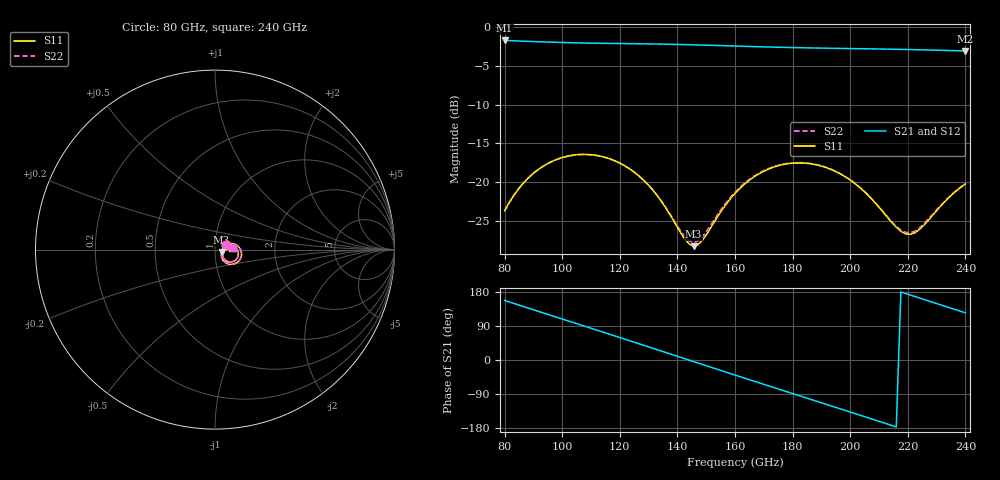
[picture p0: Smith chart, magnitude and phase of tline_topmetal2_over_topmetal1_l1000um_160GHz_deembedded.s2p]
! Created with skrf 2.2.0 (http://scikit-rf.org).
# GHz S DB R 50.0
! Port[1] = P1
! Port[2] = P2
!freq dBS11 angS11 dBS21 angS21 dBS12 angS12 dBS22 angS22
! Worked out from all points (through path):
!   101 points, 80 GHz to 240 GHz, reference 50 ohm
!   highest |S21| = -1.72 dB at 80 GHz (marker M1); lowest = -3.1 dB at 240 GHz (marker M2)
!   group delay of S21, straight-line fit = 6.82 ps
!   lowest |S11| = -28.3 dB at 145.6 GHz (marker M3), VSWR 1.08, Z = 53.8 - j1.35 ohm
!   |S11| at or under -10 dB: start of sweep to end of sweep
!   |S22| runs from -27.8 to -16.4 dB; largest |S21 - S12| = 9.2e-14
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80  -23.70 22.9  -1.72 157.3  -1.72 157.3  -23.73 23.3
86.4  -20.16 19.7  -1.81 141.5  -1.81 141.5  -20.19 20.2
94.4  -17.72 8.2  -1.91 121.8  -1.91 121.8  -17.74 8.7
100.8  -16.74 -2.9  -1.98 106.2  -1.98 106.2  -16.77 -2.3
107.2  -16.42 -14.5  -2.04 90.6  -2.04 90.6  -16.44 -13.8
120  -17.54 -37.0  -2.11 59.3  -2.11 59.3  -17.57 -36.1
128  -19.66 -48.6  -2.15 39.5  -2.15 39.5  -19.67 -47.3
134.4  -22.45 -53.0  -2.19 23.7  -2.19 23.7  -22.42 -51.2
142.4  -27.28 -37.6  -2.25 3.8  -2.25 3.8  -26.97 -35.2
145.6  -28.27 -18.9  -2.28 -4.1  -2.28 -4.1  -27.80 -17.4
148.8  -27.46 0.1  -2.31 -12.0  -2.31 -12.0  -27.01 0.1
160  -21.46 15.5  -2.43 -39.7  -2.43 -39.7  -21.31 14.8
168  -19.00 6.7  -2.52 -59.3  -2.52 -59.3  -18.91 6.2
174.4  -17.95 -2.9  -2.59 -74.9  -2.59 -74.9  -17.89 -3.3
187.2  -17.69 -23.7  -2.69 -106.0  -2.69 -106.0  -17.65 -23.8
193.6  -18.41 -33.4  -2.73 -121.7  -2.73 -121.7  -18.37 -33.4
201.6  -20.17 -43.1  -2.77 -141.2  -2.77 -141.2  -20.14 -42.8
214.4  -25.20 -39.4  -2.85 -172.7  -2.85 -172.7  -25.08 -38.8
219.2  -26.67 -23.4  -2.88 175.5  -2.88 175.5  -26.48 -23.0
222.4  -26.55 -9.9  -2.91 167.6  -2.91 167.6  -26.34 -10.0
230.4  -23.52 8.4  -2.98 148.0  -2.98 148.0  -23.40 7.8
240  -20.25 5.3  -3.07 124.5  -3.07 124.5  -20.19 4.8
